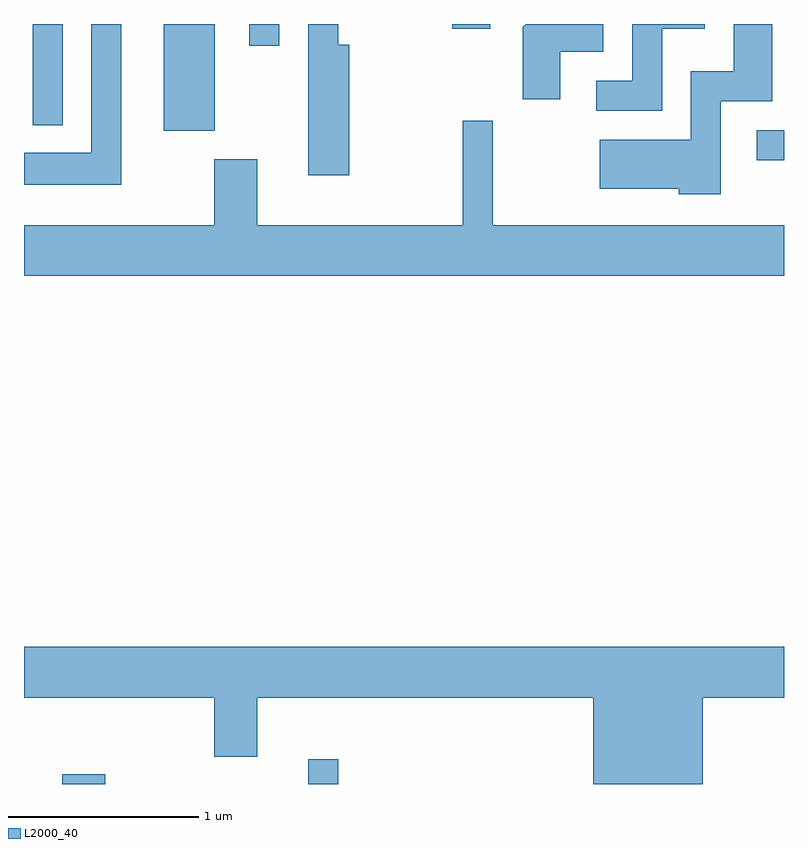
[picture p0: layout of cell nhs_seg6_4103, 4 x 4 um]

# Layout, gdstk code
import gdstk
lib = gdstk.Library(unit=1e-6, precision=1e-09)
def R(c, l, rs):  # rectangles x0, y0, x1, y1
    for r in rs: c.add(gdstk.rectangle(r[:2], r[2:], *l))
def P(c, l, *ps):  # polygons
    for p in ps: c.add(gdstk.Polygon(p, *l))
L2000_40 = (2000, 40)

nhs_seg6_4103 = lib.new_cell('nhs_seg6_4103')
R(nhs_seg6_4103, L2000_40, [(309.811,1636.162,310.039,1636.214), (311.106,1636.162,311.264,1636.293), (313.468,1639.446,313.611,1639.604), (310.346,1639.601,310.614,1640.162), (309.656,1639.628,309.814,1640.162), (310.796,1640.048,310.954,1640.162), (311.866,1640.136,312.064,1640.162)])
P(nhs_seg6_4103, L2000_40, [(311.324,1640.054),(311.264,1640.054),(311.264,1640.162),(311.106,1640.162),(311.106,1639.366),(311.324,1639.366)],
  [(312.434,1640.016),(312.659,1640.016),(312.659,1640.162),(312.251,1640.162),(312.236,1640.147),(312.236,1639.766),(312.434,1639.766)],
  [(312.969,1640.136),(313.194,1640.136),(313.194,1640.162),(312.811,1640.162),(312.811,1639.864),(312.623,1639.864),(312.623,1639.706),(312.969,1639.706)],
  [(313.279,1639.756),(313.549,1639.756),(313.549,1640.162),(313.346,1640.162),(313.346,1639.914),(313.121,1639.914),(313.121,1639.554),(312.641,1639.554),(312.641,1639.296),(313.056,1639.296),(313.056,1639.266),(313.279,1639.266)],
  [(310.124,1640.162),(309.966,1640.162),(309.966,1639.484),(309.611,1639.484),(309.611,1639.316),(310.124,1639.316)],
  [(313.611,1639.104),(312.079,1639.104),(312.079,1639.653),(311.921,1639.653),(311.921,1639.104),(310.839,1639.104),(310.839,1639.449),(310.611,1639.449),(310.611,1639.104),(309.611,1639.104),(309.611,1638.836),(313.611,1638.836)],
  [(313.184,1636.616),(313.611,1636.616),(313.611,1636.884),(309.611,1636.884),(309.611,1636.616),(310.611,1636.616),(310.611,1636.306),(310.839,1636.306),(310.839,1636.616),(312.606,1636.616),(312.606,1636.162),(313.184,1636.162)])

lib.write_gds('nhs_seg6_4103.gds')
